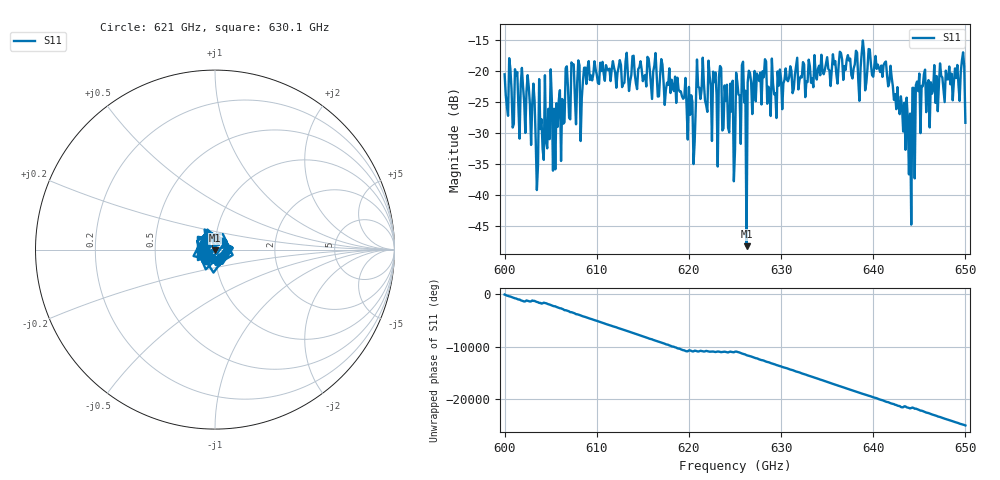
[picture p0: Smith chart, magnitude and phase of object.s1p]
!Created with skrf (http://scikit-rf.org).
# GHz S MA R 50.0
!freq magS11 angS11
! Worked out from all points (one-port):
!   401 points, 600 GHz to 650 GHz, reference 50 ohm
!   lowest |S11| = -48.2 dB at 626.2 GHz (marker M1), VSWR 1.01, Z = 49.9 - j0.358 ohm
!   |S11| at or under -10 dB: start of sweep to end of sweep
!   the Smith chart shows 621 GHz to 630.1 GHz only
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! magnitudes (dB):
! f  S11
! 600 GHz  -20.5
! 602.5 GHz  -20.7
! 603.6 GHz  -35.1
! 604.9 GHz  -31.0
! 605.5 GHz  -35.8
! 606.2 GHz  -24.5
! 606.5 GHz  -28.2
! 608.5 GHz  -21.6
! 608.9 GHz  -22.1
! 612.5 GHz  -18.2
! 618.8 GHz  -21.1
! 620.4 GHz  -24.9
! 621.4 GHz  -23.1
! 625 GHz  -32.8
! 625.9 GHz  -18.5
! 626.2 GHz  -48.2
! 626.5 GHz  -19.9
! 626.6 GHz  -20.3
! 631.2 GHz  -23.6
! 637.5 GHz  -18.0
! 641.1 GHz  -19.0
! 643.8 GHz  -27.7
! 644.2 GHz  -22.7
! 644.5 GHz  -37.3
! 645.8 GHz  -26.6
! 646 GHz  -21.5
! 649.6 GHz  -18.3
! 650 GHz  -28.3
